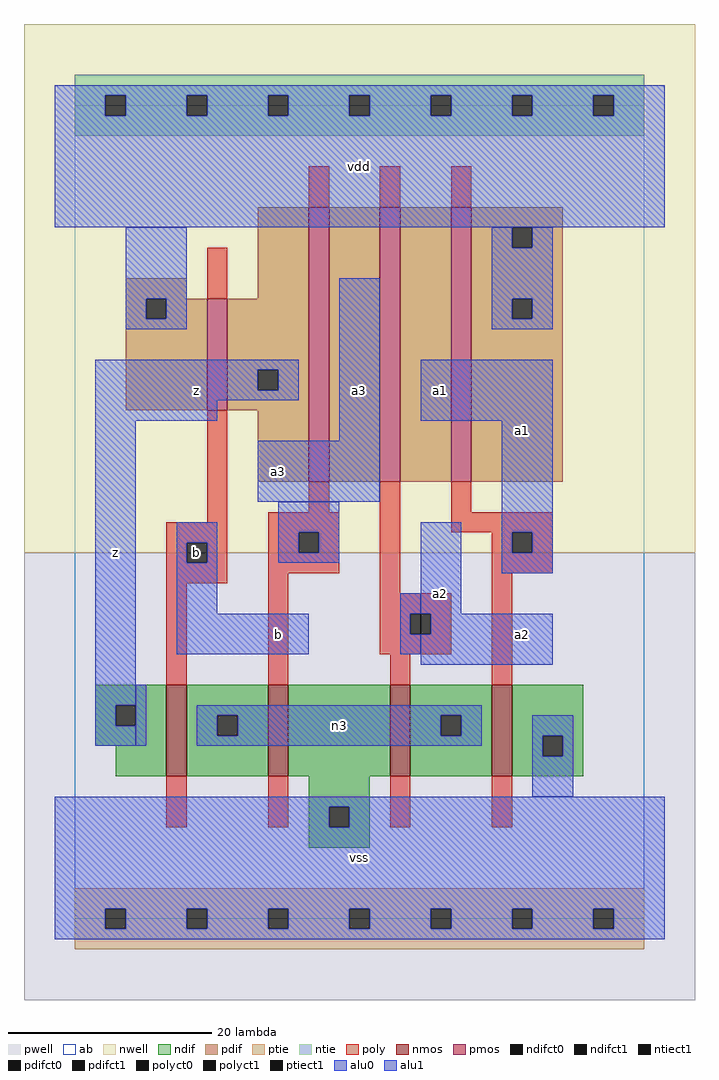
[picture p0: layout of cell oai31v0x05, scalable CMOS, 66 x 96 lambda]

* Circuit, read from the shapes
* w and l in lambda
.subckt oai31v0x05 a1 a2 a3 b n3 vdd vss z
M1 n3 b z vss nfet w=9 l=2
M2 vss a3 n3 vss nfet w=9 l=2
M3 n3 a2 vss vss nfet w=9 l=2
M4 vss a1 n3 vss nfet w=9 l=2
M5 z b vdd vdd pfet w=11 l=2
M6 n1 a3 z vdd pfet w=27 l=2
M7 n2 a2 n1 vdd pfet w=27 l=2
M8 vdd a1 n2 vdd pfet w=27 l=2
.ends

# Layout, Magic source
magic
tech scmos
<< ab >>
rect 0 0 56 80
<< nwell >>
rect -5 36 61 88
<< pwell >>
rect -5 -8 61 36
<< poly >>
rect 23 70 25 74
rect 30 70 32 74
rect 37 70 39 74
rect 13 61 15 66
rect 13 39 15 50
rect 23 40 25 43
rect 9 37 15 39
rect 9 35 11 37
rect 13 35 15 37
rect 9 33 15 35
rect 19 38 26 40
rect 19 36 22 38
rect 24 36 26 38
rect 19 34 26 36
rect 9 23 11 33
rect 19 23 21 34
rect 30 32 32 43
rect 37 40 39 43
rect 37 38 47 40
rect 41 36 43 38
rect 45 36 47 38
rect 41 34 47 36
rect 30 30 37 32
rect 30 28 33 30
rect 35 28 37 30
rect 30 26 37 28
rect 31 23 33 26
rect 41 23 43 34
rect 9 9 11 14
rect 19 9 21 14
rect 31 9 33 14
rect 41 9 43 14
<< ndif >>
rect 2 21 9 23
rect 2 19 4 21
rect 6 19 9 21
rect 2 17 9 19
rect 4 14 9 17
rect 11 20 19 23
rect 11 18 14 20
rect 16 18 19 20
rect 11 14 19 18
rect 21 14 31 23
rect 33 20 41 23
rect 33 18 36 20
rect 38 18 41 20
rect 33 14 41 18
rect 43 18 50 23
rect 43 16 46 18
rect 48 16 50 18
rect 43 14 50 16
rect 23 11 29 14
rect 23 9 25 11
rect 27 9 29 11
rect 23 7 29 9
<< pdif >>
rect 5 61 11 63
rect 18 61 23 70
rect 5 59 7 61
rect 9 59 13 61
rect 5 50 13 59
rect 15 54 23 61
rect 15 52 18 54
rect 20 52 23 54
rect 15 50 23 52
rect 18 43 23 50
rect 25 43 30 70
rect 32 43 37 70
rect 39 68 48 70
rect 39 66 43 68
rect 45 66 48 68
rect 39 61 48 66
rect 39 59 43 61
rect 45 59 48 61
rect 39 43 48 59
<< alu1 >>
rect -2 81 58 82
rect -2 79 3 81
rect 5 79 11 81
rect 13 79 19 81
rect 21 79 27 81
rect 29 79 35 81
rect 37 79 43 81
rect 45 79 51 81
rect 53 79 58 81
rect -2 68 58 79
rect 2 54 22 55
rect 2 52 18 54
rect 20 52 22 54
rect 2 51 22 52
rect 2 49 14 51
rect 2 21 6 49
rect 26 47 30 63
rect 34 49 47 55
rect 18 41 30 47
rect 10 37 14 39
rect 10 35 11 37
rect 13 35 14 37
rect 10 30 14 35
rect 34 30 38 39
rect 42 38 47 49
rect 42 36 43 38
rect 45 36 47 38
rect 42 34 47 36
rect 10 26 23 30
rect 35 28 47 30
rect 34 25 47 28
rect 2 19 4 21
rect 2 17 6 19
rect -2 11 58 12
rect -2 9 25 11
rect 27 9 58 11
rect -2 1 58 9
rect -2 -1 3 1
rect 5 -1 11 1
rect 13 -1 19 1
rect 21 -1 27 1
rect 29 -1 35 1
rect 37 -1 43 1
rect 45 -1 51 1
rect 53 -1 58 1
rect -2 -2 58 -1
<< ptie >>
rect 0 1 56 3
rect 0 -1 3 1
rect 5 -1 11 1
rect 13 -1 19 1
rect 21 -1 27 1
rect 29 -1 35 1
rect 37 -1 43 1
rect 45 -1 51 1
rect 53 -1 56 1
rect 0 -3 56 -1
<< ntie >>
rect 0 81 56 83
rect 0 79 3 81
rect 5 79 11 81
rect 13 79 19 81
rect 21 79 27 81
rect 29 79 35 81
rect 37 79 43 81
rect 45 79 51 81
rect 53 79 56 81
rect 0 77 56 79
<< nmos >>
rect 9 14 11 23
rect 19 14 21 23
rect 31 14 33 23
rect 41 14 43 23
<< pmos >>
rect 13 50 15 61
rect 23 43 25 70
rect 30 43 32 70
rect 37 43 39 70
<< polyct0 >>
rect 22 36 24 38
rect 33 28 34 30
<< polyct1 >>
rect 11 35 13 37
rect 43 36 45 38
rect 34 28 35 30
<< ndifct0 >>
rect 14 18 16 20
rect 36 18 38 20
rect 46 16 48 18
<< ndifct1 >>
rect 4 19 6 21
rect 25 9 27 11
<< ntiect1 >>
rect 3 79 5 81
rect 11 79 13 81
rect 19 79 21 81
rect 27 79 29 81
rect 35 79 37 81
rect 43 79 45 81
rect 51 79 53 81
<< ptiect1 >>
rect 3 -1 5 1
rect 11 -1 13 1
rect 19 -1 21 1
rect 27 -1 29 1
rect 35 -1 37 1
rect 43 -1 45 1
rect 51 -1 53 1
<< pdifct0 >>
rect 7 59 9 61
rect 43 66 45 68
rect 43 59 45 61
<< pdifct1 >>
rect 18 52 20 54
<< alu0 >>
rect 5 61 11 68
rect 41 66 43 68
rect 45 66 47 68
rect 5 59 7 61
rect 9 59 11 61
rect 5 58 11 59
rect 41 61 47 66
rect 41 59 43 61
rect 45 59 47 61
rect 41 58 47 59
rect 20 38 26 41
rect 20 36 22 38
rect 24 36 26 38
rect 20 35 26 36
rect 32 30 34 32
rect 32 28 33 30
rect 32 26 34 28
rect 6 17 7 23
rect 12 20 40 21
rect 12 18 14 20
rect 16 18 36 20
rect 38 18 40 20
rect 12 17 40 18
rect 45 18 49 20
rect 45 16 46 18
rect 48 16 49 18
rect 45 12 49 16
<< labels >>
rlabel alu0 26 19 26 19 6 n3
rlabel alu1 4 36 4 36 6 z
rlabel polyct1 12 36 12 36 6 b
rlabel alu1 20 28 20 28 6 b
rlabel alu1 20 44 20 44 6 a3
rlabel alu1 12 52 12 52 6 z
rlabel alu1 28 6 28 6 6 vss
rlabel alu1 36 32 36 32 6 a2
rlabel alu1 28 52 28 52 6 a3
rlabel alu1 36 52 36 52 6 a1
rlabel alu1 28 74 28 74 6 vdd
rlabel alu1 44 28 44 28 6 a2
rlabel alu1 44 48 44 48 6 a1
<< end >>
